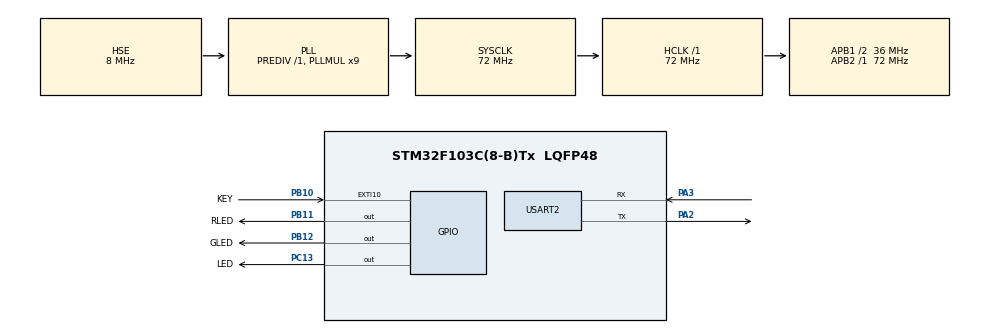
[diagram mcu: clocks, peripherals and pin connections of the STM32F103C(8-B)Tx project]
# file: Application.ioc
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IWDG.Prescaler=IWDG_PRESCALER_256
IWDG.Reload=156
Mcu.Family=STM32F1
Mcu.Name=STM32F103C(8-B)Tx
Mcu.Package=LQFP48
NVIC.EXTI15_10_IRQn=true\:0\:0\:false\:false\:true\:true\:true\:true
NVIC.PriorityGroup=NVIC_PRIORITYGROUP_4
NVIC.USART2_IRQn=true\:0\:0\:false\:false\:true\:true\:true\:true
PA13.Mode=Serial_Wire
PA13.Signal=SYS_JTMS-SWDIO
PA14.Mode=Serial_Wire
PA14.Signal=SYS_JTCK-SWCLK
PA2.Mode=Asynchronous
PA2.Signal=USART2_TX
PA3.Mode=Asynchronous
PA3.Signal=USART2_RX
PB10.GPIO_Label=KEY
PB10.GPIO_ModeDefaultEXTI=GPIO_MODE_IT_FALLING
PB10.GPIO_PuPd=GPIO_PULLUP
PB10.Signal=GPXTI10
PB11.GPIO_Label=RLED
PB11.Signal=GPIO_Output
PB12.GPIO_Label=GLED
PB12.Signal=GPIO_Output
PC13-TAMPER-RTC.GPIO_Label=LED
PC13-TAMPER-RTC.Signal=GPIO_Output
PD0-OSC_IN.Mode=HSE-External-Oscillator
PD0-OSC_IN.Signal=RCC_OSC_IN
PD1-OSC_OUT.Mode=HSE-External-Oscillator
PD1-OSC_OUT.Signal=RCC_OSC_OUT
ProjectManager.HeapSize=0x200
ProjectManager.StackSize=0x400
ProjectManager.TargetToolchain=EWARM V8.32
RCC.AHBFreq_Value=72000000
RCC.APB1CLKDivider=RCC_HCLK_DIV2
RCC.APB1Freq_Value=36000000
RCC.APB1TimFreq_Value=72000000
RCC.APB2Freq_Value=72000000
RCC.APB2TimFreq_Value=72000000
RCC.HCLKFreq_Value=72000000
RCC.PLLMUL=RCC_PLL_MUL9
RCC.PLLSourceVirtual=RCC_PLLSOURCE_HSE
RCC.SYSCLKFreq_VALUE=72000000
RCC.SYSCLKSource=RCC_SYSCLKSOURCE_PLLCLK
RCC.USBFreq_Value=72000000
USART2.VirtualMode=VM_ASYNC
VP_CRC_VS_CRC.Mode=CRC_Activate
VP_IWDG_VS_IWDG.Mode=IWDG_Activate
board=custom

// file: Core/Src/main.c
/* USER CODE BEGIN Header */
/**
  ******************************************************************************
  * @file           : main.c
  * @brief          : Main program body
  ******************************************************************************
  * @attention
  *
  * Copyright (c) 2022 STMicroelectronics.
  * All rights reserved.
  *
  * This software is licensed under terms that can be found in the LICENSE file
  * in the root directory of this software component.
  * If no LICENSE file comes with this software, it is provided AS-IS.
  *
  ******************************************************************************
  */
/* USER CODE END Header */
#include "main.h"
#include "crc.h"
#include "iwdg.h"
#include "usart.h"
#include "gpio.h"

/* USER CODE BEGIN Includes */
#include <string.h>
#include <stdlib.h>
/* USER CODE END Includes */

/* USER CODE BEGIN PTD */
#define BOOT_LOADER_ADDRESS 0x08000000U
#define VECTOR_TABLE_OFFSET 0x0U
/* USER CODE END PTD */

/* USER CODE BEGIN PV */
#define bufferSize 255
uint8_t Rx_data[2] = {0}, Rx_Buffer[bufferSize] = {0};
uint8_t Transfer_cplt = 0, Rx_indx = 0;
/* USER CODE END PV */

void SystemClock_Config(void);

/* USER CODE BEGIN 0 */
void HAL_GPIO_EXTI_Callback(uint16_t GPIO_Pin)
{
  uint8_t sample = 0;
  for(uint8_t i = 0; i <= 8 ; i++)
  {
    if(HAL_GPIO_ReadPin(KEY_GPIO_Port,KEY_Pin) == 0)
    {
      sample++;
      if(sample >= 5)
      HAL_GPIO_TogglePin(GLED_GPIO_Port,GLED_Pin);
    }
  }

}

void jumpToBootLoader(void)
{
  //__disable_irq();
  // pointer function to call bootLoader Reset Handler
  void(*resetHandler)(void);
  //reading MSP value of bootLoader Application in start Address of Boot loader App
  //boot loader start at 0x0800,0000U
  uint32_t mspValue = *(volatile uint32_t *)BOOT_LOADER_ADDRESS;
  // Seting the MSP
  __set_SP(mspValue);
  // Change the Vector Table Offcest to Application Vector Table
  SCB->VTOR = BOOT_LOADER_ADDRESS | VECTOR_TABLE_OFFSET;
  // jumping to the reset handeler of the user bootLoader
  // now fetch the reset handler address of the user bootLoader form the
  // location BOOT_LOADER_ADDRESS + 4
  resetHandler = (void(*)(void))(*(volatile uint32_t*)(BOOT_LOADER_ADDRESS + 0x00000004U));
  resetHandler();
}

void HAL_UART_RxCpltCallback(UART_HandleTypeDef *huart)
{
  if(huart->Instance == USART2)
  {
//    if (Rx_indx == 0)
//    {
//      for (uint8_t i = 0; i < bufferSize; i++)
//        Rx_Buffer[i] = 0;
//    }
    if(Rx_data[0] != 0x0A) //if received data different from ascii 13 (enter)
    {
      Rx_Buffer[Rx_indx++] = Rx_data[0];     //add data to Rx_Buffer
    }
    else            //if received data = 13
    {
      Rx_indx = 0;
      Transfer_cplt = 1; //received complete, data is ready to read
    }
    HAL_UART_Receive_IT(&huart2, Rx_data, 1);
  }
  else
  {}
}
/* USER CODE END 0 */

int main(void)
{

  /* MCU Configuration--------------------------------------------------------*/

  /* Reset of all peripherals, Initializes the Flash interface and the Systick. */
  HAL_Init();

  /* Configure the system clock */
  SystemClock_Config();

  /* Initialize all configured peripherals */
  MX_GPIO_Init();
  MX_CRC_Init();
  MX_USART2_UART_Init();
  MX_IWDG_Init();
  /* USER CODE BEGIN 2 */
  HAL_GPIO_WritePin(GLED_GPIO_Port,GLED_Pin,GPIO_PIN_RESET);
  HAL_GPIO_WritePin(RLED_GPIO_Port,RLED_Pin,GPIO_PIN_SET);
  /* USER CODE END 2 */
  HAL_IWDG_Refresh(&hiwdg);
  HAL_UART_Receive_IT(&huart2, Rx_data, 1);
  //HAL_UART_Transmit(&huart2,"Application Start\r\n",19,500);
  /* Infinite loop */
  /* USER CODE BEGIN WHILE */
  while (1)
  {

    if(Transfer_cplt == 1)
    {
      Transfer_cplt = 0;

      if(Rx_Buffer[1] == 0x11)
      {
        Rx_Buffer[0] = 2;
        Rx_Buffer[1]+= 0x40;
        HAL_UART_Transmit(&huart2,Rx_Buffer,2,1000);
       *(volatile uint8_t*)0x20004FFF = 0x20U;
       *(volatile uint8_t*)0x20004FFE = 0x30U;
       *(volatile uint8_t*)0x20004FFD = 0x40U;
       *(volatile uint8_t*)0x20004FFC = 0x50U;
       HAL_NVIC_SystemReset();
        //jumpToBootLoader();
      }
    }
    else
    {

    }
    HAL_IWDG_Refresh(&hiwdg);
    /* USER CODE END WHILE */

  }
}

void SystemClock_Config(void)
{
  RCC_OscInitTypeDef RCC_OscInitStruct = {0};
  RCC_ClkInitTypeDef RCC_ClkInitStruct = {0};

  /** Initializes the RCC Oscillators according to the specified parameters
  * in the RCC_OscInitTypeDef structure.
  */
  RCC_OscInitStruct.OscillatorType = RCC_OSCILLATORTYPE_LSI|RCC_OSCILLATORTYPE_HSE;
  RCC_OscInitStruct.HSEState = RCC_HSE_ON;
  RCC_OscInitStruct.HSEPredivValue = RCC_HSE_PREDIV_DIV1;
  RCC_OscInitStruct.HSIState = RCC_HSI_ON;
  RCC_OscInitStruct.LSIState = RCC_LSI_ON;
  RCC_OscInitStruct.PLL.PLLState = RCC_PLL_ON;
  RCC_OscInitStruct.PLL.PLLSource = RCC_PLLSOURCE_HSE;
  RCC_OscInitStruct.PLL.PLLMUL = RCC_PLL_MUL9;
  if (HAL_RCC_OscConfig(&RCC_OscInitStruct) != HAL_OK)
  {
    Error_Handler();
  }

  /** Initializes the CPU, AHB and APB buses clocks
  */
  RCC_ClkInitStruct.ClockType = RCC_CLOCKTYPE_HCLK|RCC_CLOCKTYPE_SYSCLK
                              |RCC_CLOCKTYPE_PCLK1|RCC_CLOCKTYPE_PCLK2;
  RCC_ClkInitStruct.SYSCLKSource = RCC_SYSCLKSOURCE_PLLCLK;
  RCC_ClkInitStruct.AHBCLKDivider = RCC_SYSCLK_DIV1;
  RCC_ClkInitStruct.APB1CLKDivider = RCC_HCLK_DIV2;
  RCC_ClkInitStruct.APB2CLKDivider = RCC_HCLK_DIV1;

  if (HAL_RCC_ClockConfig(&RCC_ClkInitStruct, FLASH_LATENCY_2) != HAL_OK)
  {
    Error_Handler();
  }
}

void Error_Handler(void)
{
  __disable_irq();
  while (1)
  {
  }
}
